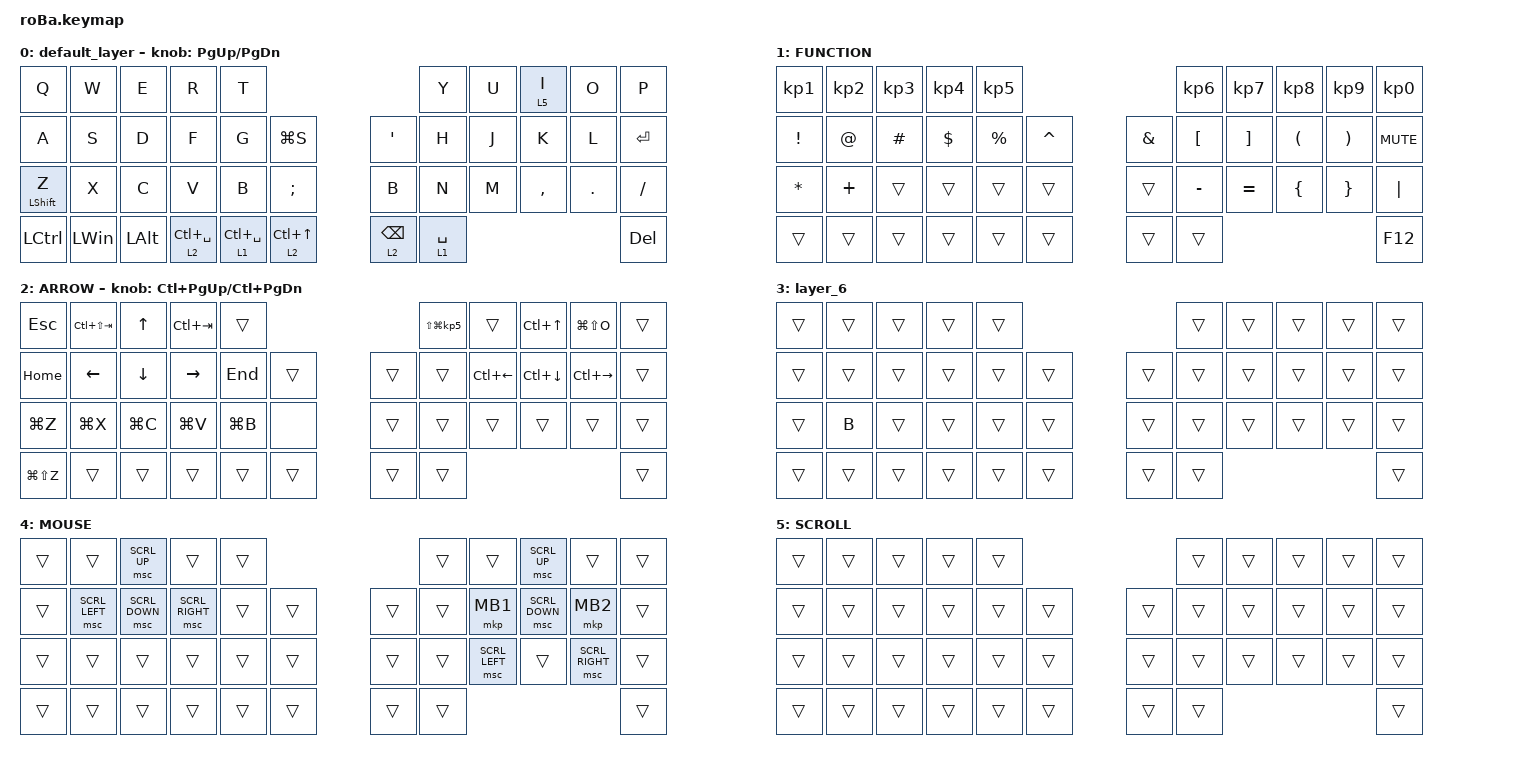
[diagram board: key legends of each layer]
#include <behaviors.dtsi>
#include <dt-bindings/zmk/keys.h>
#include <dt-bindings/zmk/pointing.h>

#define MOUSE 4
#define SCROLL 5
#define NUM 6

&mt {
    flavor = "balanced";
    quick-tap-ms = <0>;
};

/ {
    combos {
        compatible = "zmk,combos";

        tab {
            bindings = <&kp TAB>;
            key-positions = <11 12>;
        };

        shift_tab {
            bindings = <&kp LS(TAB)>;
            key-positions = <12 13>;
        };

        muhennkann {
            bindings = <&to_layer_0 INT_MUHENKAN>;
            key-positions = <11 10>;
        };

        double_quotation {
            bindings = <&kp DOUBLE_QUOTES>;
            key-positions = <20 21>;
        };

        eq {
            bindings = <&kp EQUAL>;
            key-positions = <24 25>;
        };
    };

    macros {
        to_layer_0: to_layer_0 {
            compatible = "zmk,behavior-macro-one-param";
            #binding-cells = <1>;
            bindings = <&to 0 &macro_param_1to1 &kp MACRO_PLACEHOLDER>;
            label = "TO_LAYER_0";
        };
    };

    behaviors {
        lt_to_layer_0: lt_to_layer_0 {
            compatible = "zmk,behavior-hold-tap";
            label = "LAYER_TAP_TO_0";
            bindings = <&mo>, <&to_layer_0>;

            #binding-cells = <2>;
            tapping-term-ms = <200>;
        };
    };

    keymap {
        compatible = "zmk,keymap";

        default_layer {
            bindings = <
&kp Q             &kp W         &kp E         &kp R                       &kp T                                                                           &kp Y        &kp U  &lt 5 I    &kp O    &kp P
&kp A             &kp S         &kp D         &kp F                       &kp G            &kp LG(S)                          &kp SQT                     &kp H        &kp J  &kp K      &kp L    &kp ENTER
&mt LEFT_SHIFT Z  &kp X         &kp C         &kp V                       &kp B            &kp SEMICOLON                      &kp B                       &kp N        &kp M  &kp COMMA  &kp DOT  &kp SLASH
&kp LCTRL         &kp LEFT_WIN  &kp LEFT_ALT  &lt_to_layer_0 2 LC(SPACE)  &lt 1 LC(SPACE)  &lt_to_layer_0 2 LC(UP_ARROW)      &lt_to_layer_0 2 BACKSPACE  &lt 1 SPACE                             &kp DEL
            >;

            sensor-bindings = <&inc_dec_kp PG_UP PAGE_DOWN>;
        };

        FUNCTION {
            bindings = <
&kp KP_NUMBER_1  &kp KP_NUMBER_2  &kp KP_NUMBER_3  &kp KP_NUMBER_4  &kp KP_NUMBER_5                                &kp KP_NUMBER_6   &kp KP_NUMBER_7    &kp KP_NUMBER_8       &kp KP_NUMBER_9        &kp KP_NUMBER_0
&kp EXCLAMATION  &kp AT_SIGN      &kp HASH         &kp DOLLAR       &kp PERCENT      &kp CARET      &kp AMPERSAND  &kp LEFT_BRACKET  &kp RIGHT_BRACKET  &kp LEFT_PARENTHESIS  &kp RIGHT_PARENTHESIS  &kp C_MUTE
&kp ASTERISK     &kp PLUS         &trans           &trans           &trans           &trans         &trans         &kp MINUS         &kp EQUAL          &kp LEFT_BRACE        &kp RIGHT_BRACE        &kp PIPE
&trans           &trans           &trans           &trans           &trans           &trans         &trans         &trans                                                                            &kp F12
            >;
        };

        ARROW {
            bindings = <
&kp ESCAPE     &kp LC(LS(TAB))  &kp UP_ARROW    &kp LC(TAB)      &trans                         &kp LS(LG(KP_NUMBER_5))  &trans              &kp LC(UP_ARROW)    &kp LG(LS(O))        &trans
&kp HOME       &kp LEFT_ARROW   &kp DOWN_ARROW  &kp RIGHT_ARROW  &kp END    &trans      &trans  &trans                   &kp LC(LEFT_ARROW)  &kp LC(DOWN_ARROW)  &kp LC(RIGHT_ARROW)  &trans
&kp LG(Z)      &kp LG(X)        &kp LG(C)       &kp LG(V)        &kp LG(B)  &none       &trans  &trans                   &trans              &trans              &trans               &trans
&kp LG(LS(Z))  &trans           &trans          &trans           &trans     &trans      &trans  &trans                                                                                &trans
            >;

            sensor-bindings = <&inc_dec_kp LC(PAGE_UP) LC(PAGE_DOWN)>;
        };

        layer_6 {
            bindings = <
&trans  &trans  &trans  &trans  &trans                      &trans  &trans  &trans  &trans  &trans
&trans  &trans  &trans  &trans  &trans  &trans      &trans  &trans  &trans  &trans  &trans  &trans
&trans  &kp B   &trans  &trans  &trans  &trans      &trans  &trans  &trans  &trans  &trans  &trans
&trans  &trans  &trans  &trans  &trans  &trans      &trans  &trans                          &trans
            >;
        };

        MOUSE {
            bindings = <
&trans  &trans          &msc SCRL_UP    &trans           &trans                      &trans  &trans          &msc SCRL_UP    &trans           &trans
&trans  &msc SCRL_LEFT  &msc SCRL_DOWN  &msc SCRL_RIGHT  &trans  &trans      &trans  &trans  &mkp MB1        &msc SCRL_DOWN  &mkp MB2         &trans
&trans  &trans          &trans          &trans           &trans  &trans      &trans  &trans  &msc SCRL_LEFT  &trans          &msc SCRL_RIGHT  &trans
&trans  &trans          &trans          &trans           &trans  &trans      &trans  &trans                                                   &trans
            >;
        };

        SCROLL {
            bindings = <
&trans  &trans  &trans  &trans  &trans                      &trans  &trans  &trans  &trans  &trans
&trans  &trans  &trans  &trans  &trans  &trans      &trans  &trans  &trans  &trans  &trans  &trans
&trans  &trans  &trans  &trans  &trans  &trans      &trans  &trans  &trans  &trans  &trans  &trans
&trans  &trans  &trans  &trans  &trans  &trans      &trans  &trans                          &trans
            >;
        };
    };
};
